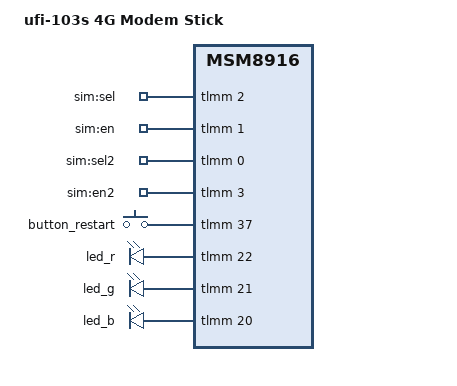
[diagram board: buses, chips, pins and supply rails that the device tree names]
// SPDX-License-Identifier: GPL-2.0-only
// UFI103S - 硬件与 UFI001C 相同，GPIO 布局一致
// 如发现差异可在此文件单独修改

/dts-v1/;

#include "msm8916-ufi.dtsi"

/ {
	model = "ufi-103s 4G Modem Stick";
	compatible = "thwc,ufi103s", "qcom,msm8916";
	leds: leds {
		sim_sel {
			label = "sim:sel";
			gpios = <&tlmm 2 GPIO_ACTIVE_HIGH>;
			default-state = "on";
		};

		sim_en {
			label = "sim:en";
			gpios = <&tlmm 1 GPIO_ACTIVE_HIGH>;
			default-state = "off";
		};

		sim_sel2 {
			label = "sim:sel2";
			gpios = <&tlmm 0 GPIO_ACTIVE_HIGH>;
			default-state = "off";
		};

		sim_en2 {
			label = "sim:en2";
			gpios = <&tlmm 3 GPIO_ACTIVE_HIGH>;
			default-state = "off";
		};
	};
};

&button_restart {
	gpios = <&tlmm 37 GPIO_ACTIVE_HIGH>;
};

&led_r {
	gpios = <&tlmm 22 GPIO_ACTIVE_HIGH>;
};

&led_g {
	gpios = <&tlmm 21 GPIO_ACTIVE_HIGH>;
};

&led_b {
	gpios = <&tlmm 20 GPIO_ACTIVE_HIGH>;
};

&button_default {
	pins = "gpio37";
	bias-pull-down;
};

&gpio_leds_default {
	pins = "gpio0","gpio1","gpio2","gpio3","gpio20", "gpio21", "gpio22";
};
